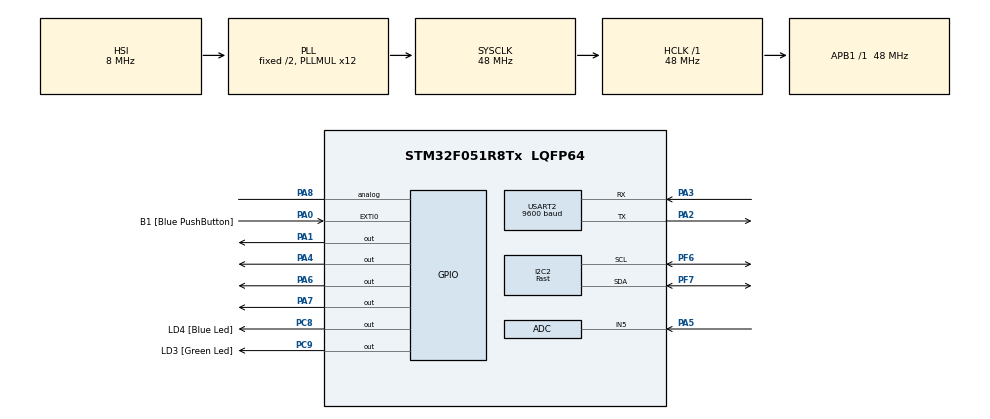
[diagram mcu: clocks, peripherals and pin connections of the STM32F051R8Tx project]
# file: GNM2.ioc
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ADC.ContinuousConvMode=ENABLE
ADC.SamplingTime=ADC_SAMPLETIME_55CYCLES_5
I2C2.I2C_Speed_Mode=I2C_Fast
I2C2.Timing=0x2010091A
Mcu.Family=STM32F0
Mcu.Name=STM32F051R8Tx
Mcu.Package=LQFP64
PA0.GPIO_Label=B1 [Blue PushButton]
PA0.GPIO_ModeDefaultEXTI=GPIO_MODE_EVT_RISING
PA0.Signal=GPXTI0
PA1.Signal=GPIO_Output
PA13.GPIO_Label=SWDIO
PA13.Mode=Serial_Wire
PA13.Signal=SYS_SWDIO
PA14.GPIO_Label=SWCLK
PA14.Mode=Serial_Wire
PA14.Signal=SYS_SWCLK
PA2.Mode=Asynchronous
PA2.Signal=USART2_TX
PA3.Mode=Asynchronous
PA3.Signal=USART2_RX
PA4.Signal=GPIO_Output
PA5.Mode=IN5
PA5.Signal=ADC_IN5
PA6.Signal=GPIO_Output
PA7.Signal=GPIO_Output
PA8.Signal=GPIO_Analog
PC8.GPIO_Label=LD4 [Blue Led]
PC8.Signal=GPIO_Output
PC9.GPIO_Label=LD3 [Green Led]
PC9.Signal=GPIO_Output
PF0-OSC_IN.Mode=HSE-External-Oscillator
PF0-OSC_IN.Signal=RCC_OSC_IN
PF1-OSC_OUT.Mode=HSE-External-Oscillator
PF1-OSC_OUT.Signal=RCC_OSC_OUT
PF6.Mode=I2C
PF6.Signal=I2C2_SCL
PF7.Mode=I2C
PF7.Signal=I2C2_SDA
ProjectManager.HeapSize=0x200
ProjectManager.StackSize=0x400
ProjectManager.TargetToolchain=STM32CubeIDE
RCC.AHBFreq_Value=48000000
RCC.APB1Freq_Value=48000000
RCC.APB1TimFreq_Value=48000000
RCC.HCLKFreq_Value=48000000
RCC.PLLMUL=RCC_PLL_MUL12
RCC.SYSCLKFreq_VALUE=48000000
RCC.SYSCLKSource=RCC_SYSCLKSOURCE_PLLCLK
TIM1.Prescaler=47
USART2.BaudRate=9600
USART2.DataInvertParam=ADVFEATURE_DATAINV_DISABLE
USART2.SwapParam=ADVFEATURE_SWAP_ENABLE
USART2.VirtualMode-Asynchronous=VM_ASYNC
VP_TIM1_VS_ClockSourceINT.Mode=Internal
board=STM32F0DISCOVERY

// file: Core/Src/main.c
/* USER CODE BEGIN Header */
/**
  ******************************************************************************
  * @file           : main.c
  * @brief          : Main program body
  ******************************************************************************
  * @attention
  *
  * Copyright (c) 2022 STMicroelectronics.
  * All rights reserved.
  *
  * This software is licensed under terms that can be found in the LICENSE file
  * in the root directory of this software component.
  * If no LICENSE file comes with this software, it is provided AS-IS.
  *
  ******************************************************************************
  */
/* USER CODE END Header */
#include "main.h"

/* USER CODE BEGIN Includes */
#include "string.h"
/* USER CODE END Includes */

 ADC_HandleTypeDef hadc;

I2C_HandleTypeDef hi2c2;

TIM_HandleTypeDef htim1;

UART_HandleTypeDef huart2;

/* USER CODE BEGIN PV */
uint16_t readValue;
#define RT0 10000  // Ω
#define B 3470      // K

#define VCC 3.3   //Supply voltage
#define R 10000
/* USER CODE END PV */

void SystemClock_Config(void);
static void MX_GPIO_Init(void);
static void MX_USART2_UART_Init(void);
static void MX_I2C2_Init(void);
static void MX_TIM1_Init(void);
static void MX_ADC_Init(void);

/* USER CODE BEGIN 0 */
//General purpose Function to send a char array over the UART and to automatically send a new line character after it
void debugPrintln(UART_HandleTypeDef *uart_handle,char _out[])
{
	HAL_GPIO_TogglePin(GPIOC, GPIO_PIN_8);
	HAL_UART_Transmit(uart_handle, (uint8_t *) _out,strlen(_out), 60);
	char newline[2] = "\r\n";
	HAL_UART_Transmit(uart_handle, (uint8_t *)newline, 2, 10);

}

char str[60] = { 0 };
#define DHT11_PORT GPIOA
#define DHT11_PIN GPIO_PIN_4
uint8_t RHI, RHD, TCI, TCD, SUM;
uint32_t pMillis, cMillis;
float tCelsius = 0;
float tFahrenheit = 0;
float RH = 0;

void microDelay (uint16_t delay)
{
__HAL_TIM_SET_COUNTER(&htim1, 0);
while (__HAL_TIM_GET_COUNTER(&htim1) < delay);
}

uint8_t DHT11_Start (void)
{
uint8_t Response = 0;
GPIO_InitTypeDef GPIO_InitStructPrivate = {0};
GPIO_InitStructPrivate.Pin = DHT11_PIN;
GPIO_InitStructPrivate.Mode = GPIO_MODE_OUTPUT_PP;
GPIO_InitStructPrivate.Speed = GPIO_SPEED_FREQ_LOW;
GPIO_InitStructPrivate.Pull = GPIO_NOPULL;
HAL_GPIO_Init(DHT11_PORT, &GPIO_InitStructPrivate); // set the pin as output
HAL_GPIO_WritePin (DHT11_PORT, DHT11_PIN, 0);   // pull the pin low
HAL_Delay(20);   // wait for 20ms
HAL_GPIO_WritePin (DHT11_PORT, DHT11_PIN, 1);   // pull the pin high
microDelay (30);   // wait for 30us
GPIO_InitStructPrivate.Mode = GPIO_MODE_INPUT;
GPIO_InitStructPrivate.Pull = GPIO_PULLUP;
HAL_GPIO_Init(DHT11_PORT, &GPIO_InitStructPrivate); // set the pin as input
microDelay (40);
if (!(HAL_GPIO_ReadPin (DHT11_PORT, DHT11_PIN)))
{
  microDelay (80);
  if ((HAL_GPIO_ReadPin (DHT11_PORT, DHT11_PIN))) Response = 1;
}
pMillis = HAL_GetTick();
cMillis = HAL_GetTick();
while ((HAL_GPIO_ReadPin (DHT11_PORT, DHT11_PIN)) && pMillis + 2 > cMillis)
{
  cMillis = HAL_GetTick();
}
return Response;
}

uint8_t DHT11_Read (void)
{
uint8_t a,b;
for (a=0;a<8;a++)
{
  pMillis = HAL_GetTick();
  cMillis = HAL_GetTick();
  while (!(HAL_GPIO_ReadPin (DHT11_PORT, DHT11_PIN)) && pMillis + 2 > cMillis)
  {  // wait for the pin to go high
    cMillis = HAL_GetTick();
  }
  microDelay (40);   // wait for 40 us
  if (!(HAL_GPIO_ReadPin (DHT11_PORT, DHT11_PIN)))   // if the pin is low
    b&= ~(1<<(7-a));
  else
    b|= (1<<(7-a));
  pMillis = HAL_GetTick();
  cMillis = HAL_GetTick();
  while ((HAL_GPIO_ReadPin (DHT11_PORT, DHT11_PIN)) && pMillis + 2 > cMillis)
  {  // wait for the pin to go low
    cMillis = HAL_GetTick();
  }
}
return b;
}
/* USER CODE END 0 */

int main(void)
{

  /* MCU Configuration--------------------------------------------------------*/

  /* Reset of all peripherals, Initializes the Flash interface and the Systick. */
  HAL_Init();

  /* Configure the system clock */
  SystemClock_Config();

  /* Initialize all configured peripherals */
  MX_GPIO_Init();
  MX_USART2_UART_Init();
  MX_I2C2_Init();
  MX_TIM1_Init();
  MX_ADC_Init();
  /* USER CODE BEGIN 2 */
  HAL_TIM_Base_Start(&htim1);
  float RT, VR, ln12, TX, T0, VRT;
  T0 = 298.15;

  char str[60] = { 0 }; //Useful buffer for printing to UART
  uint8_t I2CReturn = 0; //Status var to indicate if HAL_I2C operation has succeeded (1) or failed (0);
  uint8_t i, j, Loop = 0; //Loop counters
  //Setup variables for reading and writing
  uint16_t EEPROM_DEVICE_ADDR = 0x50 << 1; //Address of EEPROM device on I2C bus
  uint16_t madd = 0x00; //Memory address variable containing a starting memory address for a location of memory in the EEPROM
  uint8_t Data = 0x10;//Data variable containing sStarting value to write to memory, could be any 8bit value
  uint8_t Data2 = 0x10;
  uint8_t *sData2 = &Data2;
  uint8_t *sData = &Data; //Pointer to sending Data variable
  uint8_t Result = 0x00; //Variable to stored value read back from memory in
  uint8_t *rData = &Result; //Pointer to result data variable
  //Say hello over UART
  debugPrintln(&huart2, "Hello, this is STMF0 Discovery board: ");
  /* USER CODE END 2 */

  /* Infinite loop */
  /* USER CODE BEGIN WHILE */
  while (1)
  {

	     	 	if(HAL_GPIO_ReadPin(GPIOA,GPIO_PIN_0)==GPIO_PIN_SET)
	     	 	{
	     	 			break;
	     	 	}
	     	 	else
	     	 	{

	     	 	  if(DHT11_Start())
	     	 	 	 	     {
	     	 	 	 	       RHI = DHT11_Read(); // Relative humidity integral
	     	 	 	 	       RHD = DHT11_Read(); // Relative humidity decimal

	     	 	 	 	       TCI = DHT11_Read(); // Celsius integral
	     	 	 	 	       TCD = DHT11_Read(); // Celsius decimal
	     	 	 	 	   Data2 = RHI;
	     	 	 	 	   Data = TCI;
	     	 	 	 	      sprintf(str, "Relative humidity decimal : %d.%d ", RHI, RHD);
	     	 	 						  debugPrintln(&huart2, str);
	     	 	 			 sprintf(str, "Temperature celsius decimal : %d.%d ", TCI, TCD);
	     	 	 						  debugPrintln(&huart2, str);
	     	 	 	 	     }
	     	 	  HAL_Delay(2000);

	     	 	  HAL_ADC_Start(&hadc);
	     	 	  HAL_ADC_PollForConversion(&hadc,1000);
	     	 	  readValue = HAL_ADC_GetValue(&hadc);
	     	 	  //VRT = readValue;              //Acquisition analog value of VRT
	     	 	   VRT = (3.3 / 4050) * readValue;      //Conversion to voltage
	     	 	   VR = VCC - VRT;
	     	 	   RT = VRT / (VR / R);               //Resistance of RT

	     	 	   ln12 = log(RT / RT0);
	     	 	   TX = (1 / ((ln12 / B) + (1 / T0))); //Temperature from thermistor

	     	 	  TX = TX - 287.13;                 //Conversion to Celsius

	     	 	     sprintf(str, "Temperature celsius decimal from analog : %f \n", TX);
	     	 	    	 						  debugPrintln(&huart2, str);
	     	 	     HAL_ADC_Stop(&hadc);
	     	 	     HAL_Delay(1000);

	     	 	     //WRITING
	     	 	     	 	  memset(str, 0, sizeof(str));
	     	 	     	 	  sprintf(str, "Writing the temperature %d to EEPROM address 0x%X", Data, madd);
	     	 	     	 	  debugPrintln(&huart2, str);
	     	 	     	 	  I2CReturn = HAL_I2C_Mem_Write(&hi2c2, EEPROM_DEVICE_ADDR, madd, 2, sData, 1, HAL_MAX_DELAY);
	     	 	     	 	  if (I2CReturn != HAL_OK) {
	     	 	     	 	  debugPrintln(&huart2, "Write to address FAILED");
	     	 	     	 	  }
	     	 	     	 	  //READING
	     	 	     	 	  memset(str, 0, sizeof(str));
	     	 	     	 	  sprintf(str, "Reading from EEPROM address 0x%X ", madd);
	     	 	     	 	  debugPrintln(&huart2, str);
	     	 	     	 	  I2CReturn = HAL_I2C_Mem_Read(&hi2c2, EEPROM_DEVICE_ADDR, madd, 2, rData, 1, HAL_MAX_DELAY);
	     	 	     	 	  if (I2CReturn != HAL_OK) {
	     	 	     	 	  debugPrintln(&huart2, "Read from address FAILED");
	     	 	     	 	  }
	     	 	     	 	  //PRINT READ VALUE
	     	 	     	 	  memset(str, 0, sizeof(str));
	     	 	     	 	  sprintf(str, "Received temperature data: %d \n", Result);
	     	 	     	 	  debugPrintln(&huart2, str);
	     	 	     	 	  //Increment address and data values and clear Result holder
	     	 	     	 	  madd = madd + 1;
	     	 	     	 	  Result = 0x00;

	     	 //WRITING
	     	 				  memset(str, 0, sizeof(str));
	     	 				  sprintf(str, "Writing the humidity %d to EEPROM address 0x%X", Data2, madd);
	     	 				  debugPrintln(&huart2, str);
	     	 				  I2CReturn = HAL_I2C_Mem_Write(&hi2c2, EEPROM_DEVICE_ADDR, madd, 2, sData2, 1, HAL_MAX_DELAY);
	     	 				  if (I2CReturn != HAL_OK) {
	     	 				  debugPrintln(&huart2, "Write to address FAILED");
	     	 				  }
	     	 				  //READING
	     	 				  memset(str, 0, sizeof(str));
	     	 				  sprintf(str, "Reading from EEPROM address 0x%X ", madd);
	     	 				  debugPrintln(&huart2, str);
	     	 				  I2CReturn = HAL_I2C_Mem_Read(&hi2c2, EEPROM_DEVICE_ADDR, madd, 2, rData, 1, HAL_MAX_DELAY);
	     	 				  if (I2CReturn != HAL_OK) {
	     	 				  debugPrintln(&huart2, "Read from address FAILED");
	     	 				  }
	     	 				  //PRINT READ VALUE
	     	 				  memset(str, 0, sizeof(str));
	     	 				  sprintf(str, "Received humidity data: %d \n", Result);
	     	 				  debugPrintln(&huart2, str);
	     	 				  //Increment address and data values and clear Result holder
	     	 				  madd = madd + 1;
	     	 				  Result = 0x00;
	     	 	     	 	  HAL_Delay(1000);
	     	 	  }

    /* USER CODE END WHILE */

  }
}

void SystemClock_Config(void)
{
  RCC_OscInitTypeDef RCC_OscInitStruct = {0};
  RCC_ClkInitTypeDef RCC_ClkInitStruct = {0};

  /** Initializes the RCC Oscillators according to the specified parameters
  * in the RCC_OscInitTypeDef structure.
  */
  RCC_OscInitStruct.OscillatorType = RCC_OSCILLATORTYPE_HSI|RCC_OSCILLATORTYPE_HSI14;
  RCC_OscInitStruct.HSIState = RCC_HSI_ON;
  RCC_OscInitStruct.HSI14State = RCC_HSI14_ON;
  RCC_OscInitStruct.HSICalibrationValue = RCC_HSICALIBRATION_DEFAULT;
  RCC_OscInitStruct.HSI14CalibrationValue = 16;
  RCC_OscInitStruct.PLL.PLLState = RCC_PLL_ON;
  RCC_OscInitStruct.PLL.PLLSource = RCC_PLLSOURCE_HSI;
  RCC_OscInitStruct.PLL.PLLMUL = RCC_PLL_MUL12;
  RCC_OscInitStruct.PLL.PREDIV = RCC_PREDIV_DIV1;
  if (HAL_RCC_OscConfig(&RCC_OscInitStruct) != HAL_OK)
  {
    Error_Handler();
  }

  /** Initializes the CPU, AHB and APB buses clocks
  */
  RCC_ClkInitStruct.ClockType = RCC_CLOCKTYPE_HCLK|RCC_CLOCKTYPE_SYSCLK
                              |RCC_CLOCKTYPE_PCLK1;
  RCC_ClkInitStruct.SYSCLKSource = RCC_SYSCLKSOURCE_PLLCLK;
  RCC_ClkInitStruct.AHBCLKDivider = RCC_SYSCLK_DIV1;
  RCC_ClkInitStruct.APB1CLKDivider = RCC_HCLK_DIV1;

  if (HAL_RCC_ClockConfig(&RCC_ClkInitStruct, FLASH_LATENCY_1) != HAL_OK)
  {
    Error_Handler();
  }
}

static void MX_ADC_Init(void)
{

  ADC_ChannelConfTypeDef sConfig = {0};

  /** Configure the global features of the ADC (Clock, Resolution, Data Alignment and number of conversion)
  */
  hadc.Instance = ADC1;
  hadc.Init.ClockPrescaler = ADC_CLOCK_ASYNC_DIV1;
  hadc.Init.Resolution = ADC_RESOLUTION_12B;
  hadc.Init.DataAlign = ADC_DATAALIGN_RIGHT;
  hadc.Init.ScanConvMode = ADC_SCAN_DIRECTION_FORWARD;
  hadc.Init.EOCSelection = ADC_EOC_SINGLE_CONV;
  hadc.Init.LowPowerAutoWait = DISABLE;
  hadc.Init.LowPowerAutoPowerOff = DISABLE;
  hadc.Init.ContinuousConvMode = ENABLE;
  hadc.Init.DiscontinuousConvMode = DISABLE;
  hadc.Init.ExternalTrigConv = ADC_SOFTWARE_START;
  hadc.Init.ExternalTrigConvEdge = ADC_EXTERNALTRIGCONVEDGE_NONE;
  hadc.Init.DMAContinuousRequests = DISABLE;
  hadc.Init.Overrun = ADC_OVR_DATA_PRESERVED;
  if (HAL_ADC_Init(&hadc) != HAL_OK)
  {
    Error_Handler();
  }

  /** Configure for the selected ADC regular channel to be converted.
  */
  sConfig.Channel = ADC_CHANNEL_5;
  sConfig.Rank = ADC_RANK_CHANNEL_NUMBER;
  sConfig.SamplingTime = ADC_SAMPLETIME_55CYCLES_5;
  if (HAL_ADC_ConfigChannel(&hadc, &sConfig) != HAL_OK)
  {
    Error_Handler();
  }

}

static void MX_I2C2_Init(void)
{

  hi2c2.Instance = I2C2;
  hi2c2.Init.Timing = 0x2010091A;
  hi2c2.Init.OwnAddress1 = 0;
  hi2c2.Init.AddressingMode = I2C_ADDRESSINGMODE_7BIT;
  hi2c2.Init.DualAddressMode = I2C_DUALADDRESS_DISABLE;
  hi2c2.Init.OwnAddress2 = 0;
  hi2c2.Init.OwnAddress2Masks = I2C_OA2_NOMASK;
  hi2c2.Init.GeneralCallMode = I2C_GENERALCALL_DISABLE;
  hi2c2.Init.NoStretchMode = I2C_NOSTRETCH_DISABLE;
  if (HAL_I2C_Init(&hi2c2) != HAL_OK)
  {
    Error_Handler();
  }

  /** Configure Analogue filter
  */
  if (HAL_I2CEx_ConfigAnalogFilter(&hi2c2, I2C_ANALOGFILTER_ENABLE) != HAL_OK)
  {
    Error_Handler();
  }

  /** Configure Digital filter
  */
  if (HAL_I2CEx_ConfigDigitalFilter(&hi2c2, 0) != HAL_OK)
  {
    Error_Handler();
  }

}

static void MX_TIM1_Init(void)
{

  TIM_ClockConfigTypeDef sClockSourceConfig = {0};
  TIM_MasterConfigTypeDef sMasterConfig = {0};

  htim1.Instance = TIM1;
  htim1.Init.Prescaler = 47;
  htim1.Init.CounterMode = TIM_COUNTERMODE_UP;
  htim1.Init.Period = 65535;
  htim1.Init.ClockDivision = TIM_CLOCKDIVISION_DIV1;
  htim1.Init.RepetitionCounter = 0;
  htim1.Init.AutoReloadPreload = TIM_AUTORELOAD_PRELOAD_DISABLE;
  if (HAL_TIM_Base_Init(&htim1) != HAL_OK)
  {
    Error_Handler();
  }
  sClockSourceConfig.ClockSource = TIM_CLOCKSOURCE_INTERNAL;
  if (HAL_TIM_ConfigClockSource(&htim1, &sClockSourceConfig) != HAL_OK)
  {
    Error_Handler();
  }
  sMasterConfig.MasterOutputTrigger = TIM_TRGO_RESET;
  sMasterConfig.MasterSlaveMode = TIM_MASTERSLAVEMODE_DISABLE;
  if (HAL_TIMEx_MasterConfigSynchronization(&htim1, &sMasterConfig) != HAL_OK)
  {
    Error_Handler();
  }

}

static void MX_USART2_UART_Init(void)
{

  huart2.Instance = USART2;
  huart2.Init.BaudRate = 9600;
  huart2.Init.WordLength = UART_WORDLENGTH_8B;
  huart2.Init.StopBits = UART_STOPBITS_1;
  huart2.Init.Parity = UART_PARITY_NONE;
  huart2.Init.Mode = UART_MODE_TX_RX;
  huart2.Init.HwFlowCtl = UART_HWCONTROL_NONE;
  huart2.Init.OverSampling = UART_OVERSAMPLING_16;
  huart2.Init.OneBitSampling = UART_ONE_BIT_SAMPLE_DISABLE;
  huart2.AdvancedInit.AdvFeatureInit = UART_ADVFEATURE_SWAP_INIT;
  huart2.AdvancedInit.Swap = UART_ADVFEATURE_SWAP_ENABLE;
  if (HAL_UART_Init(&huart2) != HAL_OK)
  {
    Error_Handler();
  }

}

static void MX_GPIO_Init(void)
{
  GPIO_InitTypeDef GPIO_InitStruct = {0};

  /* GPIO Ports Clock Enable */
  __HAL_RCC_GPIOF_CLK_ENABLE();
  __HAL_RCC_GPIOA_CLK_ENABLE();
  __HAL_RCC_GPIOC_CLK_ENABLE();

  /*Configure GPIO pin Output Level */
  HAL_GPIO_WritePin(GPIOA, GPIO_PIN_1|GPIO_PIN_4|GPIO_PIN_6|GPIO_PIN_7, GPIO_PIN_RESET);

  /*Configure GPIO pin Output Level */
  HAL_GPIO_WritePin(GPIOC, LD4_Pin|LD3_Pin, GPIO_PIN_RESET);

  /*Configure GPIO pin : B1_Pin */
  GPIO_InitStruct.Pin = B1_Pin;
  GPIO_InitStruct.Mode = GPIO_MODE_EVT_RISING;
  GPIO_InitStruct.Pull = GPIO_NOPULL;
  HAL_GPIO_Init(B1_GPIO_Port, &GPIO_InitStruct);

  /*Configure GPIO pins : PA1 PA4 PA6 PA7 */
  GPIO_InitStruct.Pin = GPIO_PIN_1|GPIO_PIN_4|GPIO_PIN_6|GPIO_PIN_7;
  GPIO_InitStruct.Mode = GPIO_MODE_OUTPUT_PP;
  GPIO_InitStruct.Pull = GPIO_NOPULL;
  GPIO_InitStruct.Speed = GPIO_SPEED_FREQ_LOW;
  HAL_GPIO_Init(GPIOA, &GPIO_InitStruct);

  /*Configure GPIO pins : LD4_Pin LD3_Pin */
  GPIO_InitStruct.Pin = LD4_Pin|LD3_Pin;
  GPIO_InitStruct.Mode = GPIO_MODE_OUTPUT_PP;
  GPIO_InitStruct.Pull = GPIO_NOPULL;
  GPIO_InitStruct.Speed = GPIO_SPEED_FREQ_LOW;
  HAL_GPIO_Init(GPIOC, &GPIO_InitStruct);

  /*Configure GPIO pin : PA8 */
  GPIO_InitStruct.Pin = GPIO_PIN_8;
  GPIO_InitStruct.Mode = GPIO_MODE_ANALOG;
  GPIO_InitStruct.Pull = GPIO_NOPULL;
  HAL_GPIO_Init(GPIOA, &GPIO_InitStruct);

}

void Error_Handler(void)
{
  __disable_irq();
  while (1)
  {
  }
}
